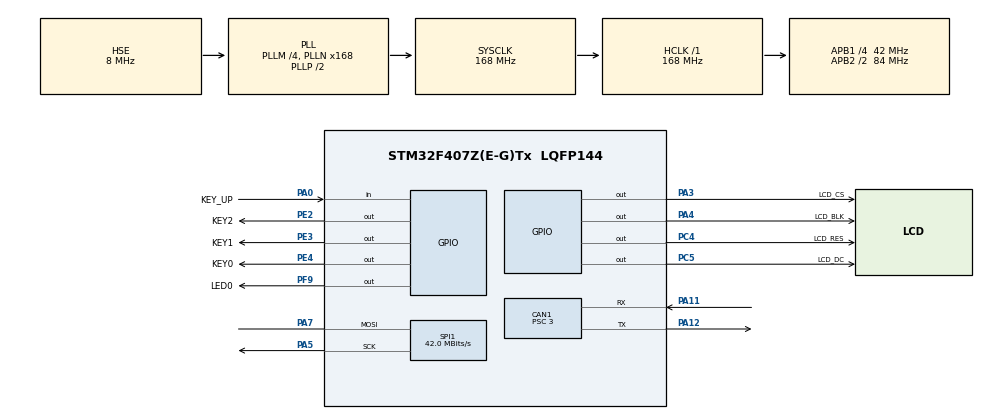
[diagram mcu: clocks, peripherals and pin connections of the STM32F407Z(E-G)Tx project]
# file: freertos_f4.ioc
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CAN1.BS1=CAN_BS1_9TQ
CAN1.BS2=CAN_BS2_4TQ
CAN1.CalculateBaudRate=1000000
CAN1.CalculateTimeBit=1000
CAN1.CalculateTimeQuantum=71.42857142857143
CAN1.Mode=CAN_MODE_NORMAL
CAN1.Prescaler=3
Dma.Request0=SPI1_TX
Dma.SPI1_TX.0.Direction=DMA_MEMORY_TO_PERIPH
Dma.SPI1_TX.0.FIFOMode=DMA_FIFOMODE_DISABLE
Dma.SPI1_TX.0.Instance=DMA2_Stream3
Dma.SPI1_TX.0.MemDataAlignment=DMA_MDATAALIGN_BYTE
Dma.SPI1_TX.0.MemInc=DMA_MINC_ENABLE
Dma.SPI1_TX.0.Mode=DMA_NORMAL
Dma.SPI1_TX.0.PeriphDataAlignment=DMA_PDATAALIGN_BYTE
Dma.SPI1_TX.0.PeriphInc=DMA_PINC_DISABLE
Dma.SPI1_TX.0.Priority=DMA_PRIORITY_VERY_HIGH
FREERTOS.Tasks01=defaultTask,24,128,StartDefaultTask,Default,NULL,Dynamic,NULL,NULL;button,25,128,buttonTask01,Default,NULL,Dynamic,NULL,NULL;driveUpdata,16,128,driveUpdataTask01,Default,NULL,Dynamic,NULL,NULL;canRxTx,17,128,canRxTxTask01,Default,NULL,Dynamic,NULL,NULL
FREERTOS.configENABLE_FPU=1
Mcu.Family=STM32F4
Mcu.Name=STM32F407Z(E-G)Tx
Mcu.Package=LQFP144
NVIC.CAN1_RX0_IRQn=true\:5\:0\:false\:false\:true\:true\:true\:true\:true
NVIC.DMA2_Stream3_IRQn=true\:5\:0\:false\:false\:true\:true\:false\:true\:true
NVIC.PriorityGroup=NVIC_PRIORITYGROUP_4
NVIC.RCC_IRQn=true\:5\:0\:false\:false\:true\:true\:true\:false\:true
NVIC.TIM8_TRG_COM_TIM14_IRQn=true\:15\:0\:false\:false\:true\:false\:false\:true\:true
NVIC.TimeBase=TIM8_TRG_COM_TIM14_IRQn
NVIC.TimeBaseIP=TIM14
PA0-WKUP.GPIO_Label=KEY_UP
PA0-WKUP.GPIO_Mode=GPIO_MODE_INPUT
PA0-WKUP.GPIO_PuPd=GPIO_PULLDOWN
PA0-WKUP.Signal=GPIO_Input
PA11.Mode=CAN_Activate
PA11.Signal=CAN1_RX
PA12.Mode=CAN_Activate
PA12.Signal=CAN1_TX
PA13.Mode=Serial_Wire
PA13.Signal=SYS_JTMS-SWDIO
PA14.Mode=Serial_Wire
PA14.Signal=SYS_JTCK-SWCLK
PA3.GPIO_Label=LCD_CS
PA3.GPIO_Speed=GPIO_SPEED_FREQ_LOW
PA3.PinState=GPIO_PIN_RESET
PA3.Signal=GPIO_Output
PA4.GPIO_Label=LCD_BLK
PA4.GPIO_Speed=GPIO_SPEED_FREQ_LOW
PA4.PinState=GPIO_PIN_RESET
PA4.Signal=GPIO_Output
PA5.Mode=Simplex_Bidirectional_Master
PA5.Signal=SPI1_SCK
PA7.Mode=Simplex_Bidirectional_Master
PA7.Signal=SPI1_MOSI
PC14-OSC32_IN.Mode=LSE-External-Oscillator
PC14-OSC32_IN.Signal=RCC_OSC32_IN
PC15-OSC32_OUT.Mode=LSE-External-Oscillator
PC15-OSC32_OUT.Signal=RCC_OSC32_OUT
PC4.GPIO_Label=LCD_RES
PC4.Signal=GPIO_Output
PC5.GPIO_Label=LCD_DC
PC5.GPIO_Speed=GPIO_SPEED_FREQ_LOW
PC5.PinState=GPIO_PIN_RESET
PC5.Signal=GPIO_Output
PE2.GPIO_Label=KEY2
PE2.GPIO_ModeDefaultOutputPP=GPIO_MODE_OUTPUT_PP
PE2.GPIO_PuPd=GPIO_NOPULL
PE2.PinState=GPIO_PIN_SET
PE2.Signal=GPIO_Output
PE3.GPIO_Label=KEY1
PE3.PinState=GPIO_PIN_SET
PE3.Signal=GPIO_Output
PE4.GPIO_Label=KEY0
PE4.PinState=GPIO_PIN_SET
PE4.Signal=GPIO_Output
PF9.GPIO_Label=LED0
PF9.GPIO_ModeDefaultOutputPP=GPIO_MODE_OUTPUT_PP
PF9.GPIO_PuPd=GPIO_NOPULL
PF9.GPIO_Speed=GPIO_SPEED_FREQ_LOW
PF9.PinState=GPIO_PIN_RESET
PF9.Signal=GPIO_Output
PH0-OSC_IN.Mode=HSE-External-Oscillator
PH0-OSC_IN.Signal=RCC_OSC_IN
PH1-OSC_OUT.Mode=HSE-External-Oscillator
PH1-OSC_OUT.Signal=RCC_OSC_OUT
ProjectManager.HeapSize=0x200
ProjectManager.StackSize=0x400
ProjectManager.TargetToolchain=MDK-ARM V5.32
RCC.48MHZClocksFreq_Value=84000000
RCC.AHBFreq_Value=168000000
RCC.APB1CLKDivider=RCC_HCLK_DIV4
RCC.APB1Freq_Value=42000000
RCC.APB1TimFreq_Value=84000000
RCC.APB2CLKDivider=RCC_HCLK_DIV2
RCC.APB2Freq_Value=84000000
RCC.APB2TimFreq_Value=168000000
RCC.CortexFreq_Value=168000000
RCC.HCLKFreq_Value=168000000
RCC.HSE_VALUE=8000000
RCC.HSI_VALUE=16000000
RCC.PLLM=4
RCC.PLLN=168
RCC.PLLSourceVirtual=RCC_PLLSOURCE_HSE
RCC.SYSCLKFreq_VALUE=168000000
RCC.SYSCLKSource=RCC_SYSCLKSOURCE_PLLCLK
RCC.VCOOutputFreq_Value=336000000
SPI1.BaudRatePrescaler=SPI_BAUDRATEPRESCALER_2
SPI1.CRCCalculation=SPI_CRCCALCULATION_DISABLE
SPI1.CalculateBaudRate=42.0 MBits/s
SPI1.Direction=SPI_DIRECTION_1LINE
SPI1.Mode=SPI_MODE_MASTER
SPI1.VirtualType=VM_MASTER
VP_FREERTOS_VS_CMSIS_V2.Mode=CMSIS_V2
VP_SYS_VS_tim14.Mode=TIM14
board=custom

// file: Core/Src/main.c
/* USER CODE BEGIN Header */
/**
  ******************************************************************************
  * @file           : main.c
  * @brief          : Main program body
  ******************************************************************************
  * @attention
  *
  * Copyright (c) 2022 STMicroelectronics.
  * All rights reserved.
  *
  * This software is licensed under terms that can be found in the LICENSE file
  * in the root directory of this software component.
  * If no LICENSE file comes with this software, it is provided AS-IS.
  *
  ******************************************************************************
  */
/* USER CODE END Header */
#include "main.h"
#include "cmsis_os.h"
#include "can.h"
#include "dma.h"
#include "spi.h"
#include "gpio.h"

void SystemClock_Config(void);
void MX_FREERTOS_Init(void);

int main(void)
{

  /* MCU Configuration--------------------------------------------------------*/

  /* Reset of all peripherals, Initializes the Flash interface and the Systick. */
  HAL_Init();

  /* Configure the system clock */
  SystemClock_Config();

  /* Initialize all configured peripherals */
  MX_GPIO_Init();
  MX_DMA_Init();
  MX_CAN1_Init();
  MX_SPI1_Init();
  /* USER CODE BEGIN 2 */

  LCD_Init();//LCD初始化

  /* USER CODE END 2 */

  /* Init scheduler */
  osKernelInitialize();  /* Call init function for freertos objects (in freertos.c) */
  MX_FREERTOS_Init();

  /* Start scheduler */
  osKernelStart();

  /* We should never get here as control is now taken by the scheduler */
  /* Infinite loop */
  /* USER CODE BEGIN WHILE */
	//drive_Switch=0x77;
  while (1)
  {
    /* USER CODE END WHILE */

  }
}

void SystemClock_Config(void)
{
  RCC_OscInitTypeDef RCC_OscInitStruct = {0};
  RCC_ClkInitTypeDef RCC_ClkInitStruct = {0};

  /** Configure the main internal regulator output voltage
  */
  __HAL_RCC_PWR_CLK_ENABLE();
  __HAL_PWR_VOLTAGESCALING_CONFIG(PWR_REGULATOR_VOLTAGE_SCALE1);

  /** Initializes the RCC Oscillators according to the specified parameters
  * in the RCC_OscInitTypeDef structure.
  */
  RCC_OscInitStruct.OscillatorType = RCC_OSCILLATORTYPE_HSE;
  RCC_OscInitStruct.HSEState = RCC_HSE_ON;
  RCC_OscInitStruct.PLL.PLLState = RCC_PLL_ON;
  RCC_OscInitStruct.PLL.PLLSource = RCC_PLLSOURCE_HSE;
  RCC_OscInitStruct.PLL.PLLM = 4;
  RCC_OscInitStruct.PLL.PLLN = 168;
  RCC_OscInitStruct.PLL.PLLP = RCC_PLLP_DIV2;
  RCC_OscInitStruct.PLL.PLLQ = 4;
  if (HAL_RCC_OscConfig(&RCC_OscInitStruct) != HAL_OK)
  {
    Error_Handler();
  }

  /** Initializes the CPU, AHB and APB buses clocks
  */
  RCC_ClkInitStruct.ClockType = RCC_CLOCKTYPE_HCLK|RCC_CLOCKTYPE_SYSCLK
                              |RCC_CLOCKTYPE_PCLK1|RCC_CLOCKTYPE_PCLK2;
  RCC_ClkInitStruct.SYSCLKSource = RCC_SYSCLKSOURCE_PLLCLK;
  RCC_ClkInitStruct.AHBCLKDivider = RCC_SYSCLK_DIV1;
  RCC_ClkInitStruct.APB1CLKDivider = RCC_HCLK_DIV4;
  RCC_ClkInitStruct.APB2CLKDivider = RCC_HCLK_DIV2;

  if (HAL_RCC_ClockConfig(&RCC_ClkInitStruct, FLASH_LATENCY_5) != HAL_OK)
  {
    Error_Handler();
  }
}

void HAL_TIM_PeriodElapsedCallback(TIM_HandleTypeDef *htim)
{
  if (htim->Instance == TIM14) {
    HAL_IncTick();
  }
}

void Error_Handler(void)
{
  __disable_irq();
  while (1)
  {
  }
}

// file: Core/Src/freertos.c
/* USER CODE BEGIN Header */
/**
  ******************************************************************************
  * File Name          : freertos.c
  * Description        : Code for freertos applications
  ******************************************************************************
  * @attention
  *
  * Copyright (c) 2022 STMicroelectronics.
  * All rights reserved.
  *
  * This software is licensed under terms that can be found in the LICENSE file
  * in the root directory of this software component.
  * If no LICENSE file comes with this software, it is provided AS-IS.
  *
  ******************************************************************************
  */
/* USER CODE END Header */

#include "FreeRTOS.h"
#include "task.h"
#include "main.h"
#include "cmsis_os.h"

/* USER CODE BEGIN Includes */
#include "can.h"
/* USER CODE END Includes */

/* USER CODE BEGIN Variables */

volatile uint8_t drive_Switch=0x77;         //驱动板开关机：开0x77；关0x88
volatile float brightness=0;                //LED灯输出亮度0.0-100.0%
volatile uint16_t color_Temperature=4600;      //LED灯输出色温2700k-6500k
volatile uint8_t fan_Ratio=0x64;              //风扇输出参数范围0x00-0x64对应DC0-12V
volatile uint8_t drive_TxData[16]={0};      //发送给驱动板的数组
volatile uint8_t drive_RxData[16]={0};      //从驱动板接受的数组

volatile uint16_t first_electric_current=0; //第一路电流值0000-1000（等效为0.0%-100.0%）
volatile uint16_t second_electric_current=0;//第二路电流值0000-1000（等效为0.0%-100.0%）
volatile uint16_t third_electric_current=0; //第三路电流值0000-1000（等效为0.0%-100.0%）
volatile uint16_t fourth_electric_current=0;//第四路电流值0000-1000（等效为0.0%-100.0%）
volatile uint16_t sum_electric_current=0;   //总的电流值0000-4000
volatile uint16_t set_LED_power=0;          //设定的LED功率值

volatile uint8_t drive_State_Update=pdTRUE;      //驱动状态更新

//test
uint8_t gpio_State=0;
uint32_t t=0;
/* USER CODE END Variables */
/* Definitions for depdFALSETask */
osThreadId_t depdFALSETaskHandle;
const osThreadAttr_t depdFALSETask_attributes = {
  .name = "depdFALSETask",
  .stack_size = 128 * 4,
  .priority = (osPriority_t) osPriorityNormal,
};
/* Definitions for button */
osThreadId_t buttonHandle;
const osThreadAttr_t button_attributes = {
  .name = "button",
  .stack_size = 128 * 4,
  .priority = (osPriority_t) osPriorityNormal1,
};
/* Definitions for driveUpdata */
osThreadId_t driveUpdataHandle;
const osThreadAttr_t driveUpdata_attributes = {
  .name = "driveUpdata",
  .stack_size = 128 * 4,
  .priority = (osPriority_t) osPriorityBelowNormal,
};
/* Definitions for canRxTx */
osThreadId_t canRxTxHandle;
const osThreadAttr_t canRxTx_attributes = {
  .name = "canRxTx",
  .stack_size = 128 * 4,
  .priority = (osPriority_t) osPriorityBelowNormal1,
};

/* USER CODE BEGIN FunctionPrototypes */
unsigned char even_parity(uint8_t *data, uint16_t start_i, uint16_t start_j);
/* USER CODE END FunctionPrototypes */

void StartDepdFALSETask(void *argument);
void buttonTask01(void *argument);
void driveUpdataTask01(void *argument);
void canRxTxTask01(void *argument);

void MX_FREERTOS_Init(void); /* (MISRA C 2004 rule 8.1) */

void MX_FREERTOS_Init(void) {

  /* Create the thread(s) */
  /* creation of depdFALSETask */
  depdFALSETaskHandle = osThreadNew(StartDepdFALSETask, NULL, &depdFALSETask_attributes);

  /* creation of button */
  buttonHandle = osThreadNew(buttonTask01, NULL, &button_attributes);

  /* creation of driveUpdata */
  driveUpdataHandle = osThreadNew(driveUpdataTask01, NULL, &driveUpdata_attributes);

  /* creation of canRxTx */
  canRxTxHandle = osThreadNew(canRxTxTask01, NULL, &canRxTx_attributes);

}

void StartDepdFALSETask(void *argument)
{
  /* USER CODE BEGIN StartDepdFALSETask */
  /* Infinite loop */
  for(;;)
  {
    //SPI1_TxData();

//		LCD_Fill(0,0,LCD_W,LCD_H,BLACK);
//		LCD_Fill(0,0,LCD_W,LCD_H,WHITE);

		LCD_ShowString(0,40,"brightness:",WHITE,BLACK,24,0);
		uint16_t bn=0;
		uint16_t bf=0;
		bn=(brightness+0.0001)*100; //0.0001为了进位
		bf=(uint16_t)((brightness*100+0.05-bn)*10);

		LCD_ShowIntNum(136,40,bn,3,WHITE,BLACK,24);
		LCD_ShowString(176,40,".",WHITE,BLACK,24,0);
		LCD_ShowIntNum(184,40,bf,1,WHITE,BLACK,24);
		LCD_ShowString(196,40,"%",WHITE,BLACK,24,0);

		LCD_ShowString(0,80,"color_Temperature:",WHITE,BLACK,24,0);
		LCD_ShowIntNum(220,80,color_Temperature,4,WHITE,BLACK,24);
		LCD_ShowString(276,80,"K",WHITE,BLACK,24,0);

    osDelay(1);
  }
  /* USER CODE END StartDepdFALSETask */
}

void buttonTask01(void *argument)
{
  /* USER CODE BEGIN buttonTask01 */
  /* Infinite loop */

  for(;;)
  {
    //uint8_t gpio_State=0;

		if(!HAL_GPIO_ReadPin(GPIOE, KEY0_Pin))//KEY0_Pin为低电平有效 增加色温
    {
      osDelay(20);//按键消抖
      if(!HAL_GPIO_ReadPin(GPIOE, KEY0_Pin))//确认KEY0_Pin被按下
      {
        if(color_Temperature<=6450)
        {
          color_Temperature =  color_Temperature + 50;//增加色温
          drive_State_Update = pdTRUE;
        }
      }
    }

    if(!HAL_GPIO_ReadPin(GPIOE, KEY2_Pin))//KEY2_Pin为低电平有效 降低色温
    {
      osDelay(20);//按键消抖
      if(!HAL_GPIO_ReadPin(GPIOE, KEY2_Pin))//确认KEY2_Pin被按下
      {
        if(color_Temperature>=2750)
        {
          color_Temperature =  color_Temperature - 50;//降低色温
          drive_State_Update = pdTRUE;
        }
      }
    }

    if(HAL_GPIO_ReadPin(GPIOA, KEY_UP_Pin))//KEY_UP_Pin为高电平有效 增加亮度
    {
      osDelay(20);//按键消抖
      if(HAL_GPIO_ReadPin(GPIOA, KEY_UP_Pin))//确认KEY_UP_Pin被按下
      {
        if(brightness<=0.999)
        {
          brightness =  brightness + 0.001;//增加亮度
          drive_State_Update = pdTRUE;
        }
      }
    }

    if(!HAL_GPIO_ReadPin(GPIOE, KEY1_Pin))//KEY1_Pin为低电平有效 降低亮度
    {
      osDelay(20);//按键消抖
      if(!HAL_GPIO_ReadPin(GPIOE, KEY1_Pin))//确认KEY1_Pin被按下
      {
        if(brightness>=0.0004)
        {
          brightness =  brightness - 0.001;//降低亮度
					if(brightness<0) brightness=0;
          drive_State_Update = pdTRUE;
        }
      }
    }
    osDelay(100);
  }
  /* USER CODE END buttonTask01 */
}

void driveUpdataTask01(void *argument)
{
  /* USER CODE BEGIN driveUpdataTask01 */
  /* Infinite loop */
  for(;;)
  {

    //text
    // drive_Switch=0x77;
    // brightness=0.5;
    // color_Temperature=6500;
    // fan_Ratio=0x64;

    float cold_Out=0;                   //定义冷色温输出值0.0-100%
    float warm_Out=0;                   //定义暖色温输出值0.0-100%
    uint8_t even_parity_flag = 0; //偶校验标志位
    uint16_t first_electric_current=0;  //第一路电流值0000-1000（等效为0.0%-100.0%）
    uint16_t second_electric_current=0; //第二路电流值0000-1000（等效为0.0%-100.0%）
    uint16_t third_electric_current=0;  //第三路电流值0000-1000（等效为0.0%-100.0%）
    uint16_t fourth_electric_current=0; //第四路电流值0000-1000（等效为0.0%-100.0%）
    uint16_t sum_electric_current=0;    //总的电流值0000-4000
    uint16_t set_LED_power=0;           //设定的LED功率值

    //输入LED灯亮度与色温，计算CCT模式冷暖色温两路输出
    cct(brightness,color_Temperature,&cold_Out,&warm_Out);

    //将冷暖输出进行格式转化并赋四路电流数值（这里假设第一路是冷色温）
    first_electric_current=(cold_Out*1000)+0.5;//+0.5实现float类型转换为uint16_t时四舍五入
    second_electric_current=(cold_Out*1000)+0.5;
    third_electric_current=(warm_Out*1000)+0.5;
    fourth_electric_current=(warm_Out*1000)+0.5;

    //安全检查
    //对四路电流输出值进行限幅
    if(first_electric_current>1000)    {first_electric_current=1000;}
    else if(first_electric_current<0)  {first_electric_current=0;}
    if(second_electric_current>1000)   {second_electric_current=1000;}
    else if(second_electric_current<0) {second_electric_current=0;}
    if(third_electric_current>1000)    {third_electric_current=1000;}
    else if(third_electric_current<0)  {third_electric_current=0;}
    if(fourth_electric_current>1000)   {fourth_electric_current=1000;}
    else if(fourth_electric_current<0) {fourth_electric_current=0;}

    //计算主控板设定的输出功率
    sum_electric_current=first_electric_current+second_electric_current+third_electric_current+fourth_electric_current;
    //判断LED功率是否超出1200W，超出则不输出
    if(sum_electric_current>2000){first_electric_current=second_electric_current=third_electric_current=fourth_electric_current=0;}
    set_LED_power= sum_electric_current *2400/(1000*4);

    drive_TxData[0] =0xaa; //第一帧帧头0xaa
    drive_TxData[1] =(first_electric_current / 256);//第一路恒流输出高八位0x00-0x0a
    drive_TxData[2] =(first_electric_current % 256);//第一路恒流输出低八位0x00-0x63
    drive_TxData[3] =(second_electric_current / 256);//第二路恒流输出高八位0x00-0x0a
    drive_TxData[4] =(second_electric_current % 256);//第二路恒流输出低八位0x00-0x63
    drive_TxData[5] =drive_Switch;//开0x77关0x88机
    even_parity_flag=even_parity(drive_TxData, 0, 5);
    drive_TxData[6] =even_parity_flag;//第一帧前6位偶校验
    drive_TxData[7] =0xfe;//第一帧帧尾

    drive_TxData[8] =0xbb;//第二帧帧头0xbb
    drive_TxData[9] =(third_electric_current / 256);//第三路恒流输出高八位0x00-0x0a
    drive_TxData[10]=(third_electric_current % 256);//第三路恒流输出低八位0x00-0x63
    drive_TxData[11]=(fourth_electric_current / 256);//第四路恒流输出高八位0x00-0x0a
    drive_TxData[12]=(fourth_electric_current % 256);//第四路恒流输出低八位0x00-0x63
    drive_TxData[13]=fan_Ratio;                     //第五路DC0-12V输出0x00-0x64
    even_parity_flag=even_parity(drive_TxData, 8, 13);
    drive_TxData[14]=even_parity_flag;//第二帧前6位偶校验
    drive_TxData[15]=0xff;//第二路帧尾0xff

    osDelay(1);
  }
  /* USER CODE END driveUpdataTask01 */
}

void canRxTxTask01(void *argument)
{
  /* USER CODE BEGIN canRxTxTask01 */
  /* Infinite loop */
  for(;;)
  {
    while (drive_State_Update==pdTRUE)
    {
      drive_State_Update=pdFALSE;
      //将drive_TxData数组通过CAN发送给下位机
      for (uint16_t i = 0; i < 2; i++)
      {
        for (uint16_t j = 0; j < 8; j++)
        {
          /* code */
          if(i==0) {CanTxData[j]=drive_TxData[j];}
          else {CanTxData[j]=drive_TxData[j+8];}
        }
        Can_senddata(CanTxData,CANTXDATALONG);
        osDelay(10);//避免帧冲突
      }
    }

    osDelay(1);
  }
  /* USER CODE END canRxTxTask01 */
}

/* USER CODE BEGIN Application */

/*
* 偶校验2
* uint8_t *data 输入数组
* uint16_t start_i 开始校验数组序号（包含）
* uint16_t start_j 结束校验数组序号（包含）
*/

unsigned char even_parity(uint8_t *data, uint16_t start_i, uint16_t start_j)
{
    unsigned char parity = 0;
    unsigned char n_bits = 0;
    uint16_t data_long = 0;
    unsigned char value = 0;

    uint16_t i=start_i;
    data_long = start_j - start_i + 1;

    for (i=start_i; i < start_i+data_long; i++)
    {
      /* code */
      value = data[i];
			n_bits = sizeof(data[start_i]) * 8;
      while( n_bits >0)
      {
          parity += value & 1;
          value >>=1;
          n_bits -=1;
      }
    }

    /*
    * 当实际数据中“1”的个数为偶数，校验位是“1”，否则校验位是“0”
    */
    return (parity % 2) != 0;

}

/* USER CODE END Application */
